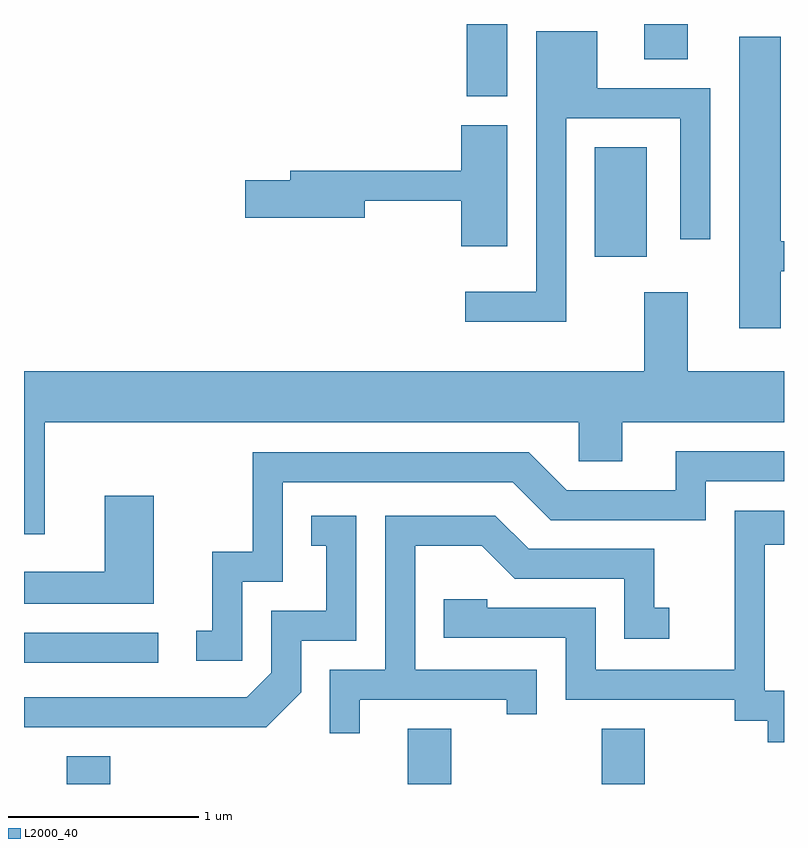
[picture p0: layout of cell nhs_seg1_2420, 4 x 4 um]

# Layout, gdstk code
import gdstk
lib = gdstk.Library(unit=1e-6, precision=1e-09)
def R(c, l, rs):  # rectangles x0, y0, x1, y1
    for r in rs: c.add(gdstk.rectangle(r[:2], r[2:], *l))
def P(c, l, *ps):  # polygons
    for p in ps: c.add(gdstk.Polygon(p, *l))
L2000_40 = (2000, 40)

nhs_seg1_2420 = lib.new_cell('nhs_seg1_2420')
R(nhs_seg1_2420, L2000_40, [(259.836,857.712,260.064,857.859), (261.631,857.712,261.859,858.004), (262.651,857.712,262.879,858.004), (259.611,858.351,260.318,858.509), (262.616,860.486,262.889,861.064), (261.941,861.331,262.154,861.712), (262.876,861.526,263.104,861.712)])
P(nhs_seg1_2420, L2000_40, [(262.464,861.216),(263.066,861.216),(263.066,860.578),(263.224,860.578),(263.224,861.374),(262.629,861.374),(262.629,861.674),(262.306,861.674),(262.306,860.304),(261.933,860.304),(261.933,860.146),(262.464,860.146)],
  [(263.594,860.411),(263.611,860.411),(263.611,860.569),(263.594,860.569),(263.594,861.644),(263.376,861.644),(263.376,860.111),(263.594,860.111)],
  [(262.154,861.179),(261.911,861.179),(261.911,860.939),(261.011,860.939),(261.011,860.889),(260.776,860.889),(260.776,860.691),(261.404,860.691),(261.404,860.781),(261.911,860.781),(261.911,860.541),(262.154,860.541)],
  [(259.719,859.616),(262.531,859.616),(262.531,859.411),(262.759,859.411),(262.759,859.616),(263.611,859.616),(263.611,859.884),(263.104,859.884),(263.104,860.299),(262.876,860.299),(262.876,859.884),(259.611,859.884),(259.611,859.026),(259.719,859.026)],
  [(260.759,858.776),(260.974,858.776),(260.974,859.301),(262.184,859.301),(262.384,859.101),(263.199,859.101),(263.199,859.306),(263.611,859.306),(263.611,859.464),(263.041,859.464),(263.041,859.259),(262.467,859.259),(262.267,859.459),(260.816,859.459),(260.816,858.934),(260.601,858.934),(260.601,858.519),(260.517,858.519),(260.517,858.361),(260.759,858.361)],
  [(260.294,859.229),(260.036,859.229),(260.036,858.829),(259.611,858.829),(259.611,858.661),(260.294,858.661)],
  [(263.611,858.204),(263.509,858.204),(263.509,858.971),(263.611,858.971),(263.611,859.149),(263.351,859.149),(263.351,858.314),(262.619,858.314),(262.619,858.639),(262.049,858.639),(262.049,858.684),(261.821,858.684),(261.821,858.481),(262.461,858.481),(262.461,858.156),(263.351,858.156),(263.351,858.046),(263.526,858.046),(263.526,857.933),(263.611,857.933)],
  [(261.069,858.194),(261.069,858.466),(261.359,858.466),(261.359,859.124),(261.123,859.124),(261.123,858.966),(261.201,858.966),(261.201,858.624),(260.911,858.624),(260.911,858.297),(260.784,858.169),(259.611,858.169),(259.611,858.011),(260.887,858.011)],
  [(261.379,858.156),(262.151,858.156),(262.151,858.078),(262.309,858.078),(262.309,858.314),(261.669,858.314),(261.669,858.966),(262.019,858.966),(262.194,858.791),(262.771,858.791),(262.771,858.476),(263.008,858.476),(263.008,858.639),(262.929,858.639),(262.929,858.949),(262.267,858.949),(262.092,859.124),(261.511,859.124),(261.511,858.314),(261.221,858.314),(261.221,857.978),(261.379,857.978)])

lib.write_gds('nhs_seg1_2420.gds')
